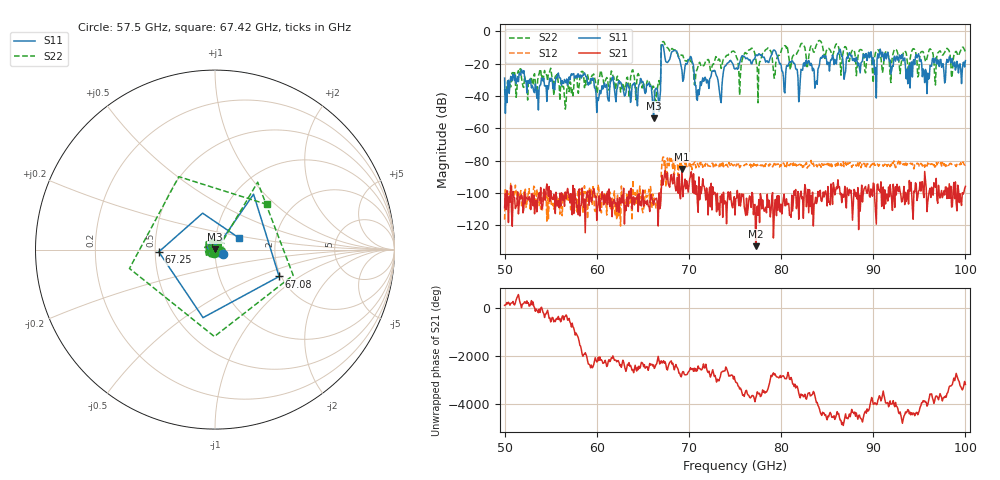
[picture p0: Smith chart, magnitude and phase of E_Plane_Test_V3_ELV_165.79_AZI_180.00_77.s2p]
! 11/26/2026 4:51:22 PM
! C:\ANRITSUVNA\TEMP\TEMP.S2P
! CHANNEL.1
! TR.MEASUREMENT
! RAW.DATA
# HZ S RI R 50.0
! FREQ.HZ  S11RE  S11IM  S21RE  S21IM  S12RE  S12IM  S22RE  S22IM
!; PortSelection: Port_12
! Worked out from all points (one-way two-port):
!   601 points, 50 GHz to 100 GHz, reference 50 ohm
!   highest |S21| = -85.19 dB at 69.25 GHz (marker M1); lowest = -133.0 dB at 77.25 GHz (marker M2)
!   lowest |S11| = -53.7 dB at 66.17 GHz (marker M3), VSWR 1.00, Z = 50.1 + j0.151 ohm
!   |S11| at or under -10 dB: start of sweep to 67 GHz; 67.25 GHz to end of sweep
!   |S22| runs from -48.1 to -5.6 dB; largest |S21 - S12| = 0.00015
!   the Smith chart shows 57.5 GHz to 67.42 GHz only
!   S11 on the Smith chart (normalised r, x): 57.5 GHz: 1.09, -0.05; 67.08 GHz: 1.95, -0.69; 67.25 GHz: 0.52, -0.01; 67.42 GHz: 1.29, +0.17
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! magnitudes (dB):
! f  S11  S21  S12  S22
! 50 GHz  -28.9  -109.1  -116.6  -35.7
! 51.67 GHz  -26.3  -102.5  -103.7  -23.2
! 53.42 GHz  -34.7  -104.6  -107.9  -35.1
! 57.5 GHz  -26.1  -112.8  -109.7  -34.6
! 58.42 GHz  -27.1  -97.0  -98.1  -24.7
! 60.17 GHz  -42.8  -106.0  -94.8  -30.4
! 66.17 GHz  -53.7  -107.5  -104.4  -34.0
! 66.67 GHz  -41.5  -120.5  -105.1  -31.6
! 67.08 GHz  -8.2  -89.1  -81.0  -6.8
! 67.25 GHz  -10.1  -92.9  -77.8  -6.2
! 67.42 GHz  -16.6  -86.2  -80.3  -8.3
! 69.25 GHz  -24.3  -85.2  -84.8  -14.8
! 70.25 GHz  -15.9  -86.9  -82.1  -18.8
! 70.92 GHz  -42.7  -105.8  -81.7  -23.1
! 75 GHz  -23.3  -113.7  -83.2  -13.0
! 77.25 GHz  -14.8  -133.0  -82.7  -17.0
! 83.42 GHz  -24.4  -99.5  -82.4  -10.8
! 91.67 GHz  -16.6  -96.3  -82.5  -15.2
! 93.75 GHz  -32.4  -98.3  -81.7  -21.3
! 94.83 GHz  -15.1  -102.3  -81.7  -28.1
! 95.83 GHz  -38.5  -111.6  -83.4  -16.6
! 100 GHz  -18.1  -96.0  -82.7  -12.5
